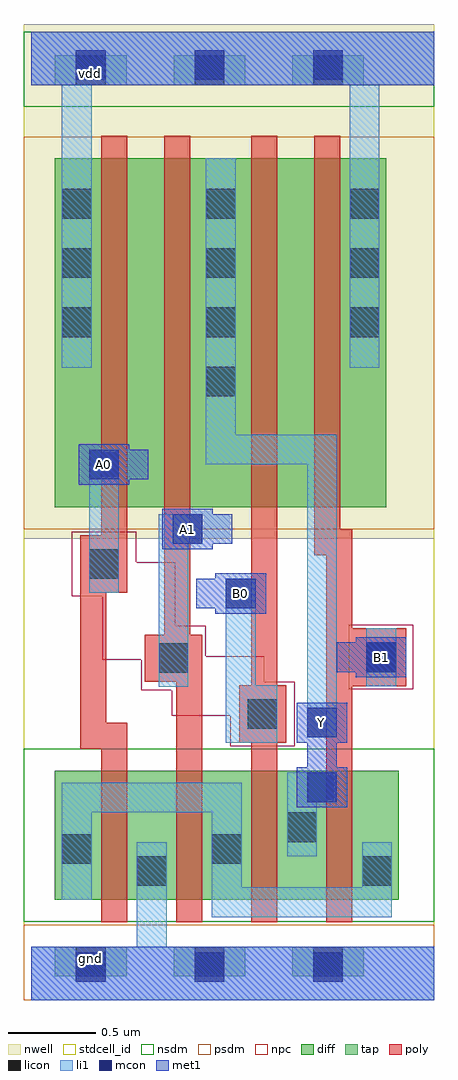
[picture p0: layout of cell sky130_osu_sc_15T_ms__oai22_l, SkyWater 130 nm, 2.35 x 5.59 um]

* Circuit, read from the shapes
.subckt sky130_osu_sc_15T_ms__oai22_l A0 A1 B0 B1 Y gnd vdd
XM1 gnd A0 n1 gnd sky130_fd_pr__nfet_01v8 w=0.74 l=0.15
XM2 n1 A1 gnd gnd sky130_fd_pr__nfet_01v8 w=0.74 l=0.15
XM3 Y B0 n1 gnd sky130_fd_pr__nfet_01v8 w=0.74 l=0.15
XM4 n1 B1 Y gnd sky130_fd_pr__nfet_01v8 w=0.74 l=0.15
XM5 n2 A0 vdd vdd sky130_fd_pr__pfet_01v8 w=2 l=0.15
XM6 Y A1 n2 vdd sky130_fd_pr__pfet_01v8 w=2 l=0.15
XM7 n3 B0 Y vdd sky130_fd_pr__pfet_01v8 w=2 l=0.15
XM8 vdd B1 n3 vdd sky130_fd_pr__pfet_01v8 w=2 l=0.15
.ends

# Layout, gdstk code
import gdstk
lib = gdstk.Library(unit=1e-6, precision=1e-09)
def R(c, l, rs):  # rectangles x0, y0, x1, y1
    for r in rs: c.add(gdstk.rectangle(r[:2], r[2:], *l))
def A(c, l, x, y, w, h, nx, ny, dx, dy):  # array of equal rectangles
    R(c, l, [(x+i*dx, y+j*dy, x+i*dx+w, y+j*dy+h) for i in range(nx) for j in range(ny)])
nwell = (64, 20)
diff = (65, 20)
tap = (65, 44)
poly = (66, 20)
licon = (66, 44)
li1 = (67, 20)
mcon = (67, 44)
met1 = (68, 20)
stdcell_id = (81, 4)
nsdm = (93, 44)
psdm = (94, 20)
npc = (95, 20)

sky130_osu_sc_15t_ms__oa = lib.new_cell('sky130_osu_sc_15T_ms__oai22_l')
R(sky130_osu_sc_15t_ms__oa, nwell, [(-0.045,2.645,2.31,5.595)])
R(sky130_osu_sc_15t_ms__oa, diff, [(0.135,0.575,2.105,1.315), (0.135,2.825,2.035,4.825)])
A(sky130_osu_sc_15t_ms__oa, tap, 0.135, 0.135, 0.41, 0.17, 3, 2, 0.68, 5.11)
R(sky130_osu_sc_15t_ms__oa, poly, [(0.4,0.445,0.55,1.44), (0.83,0.445,0.98,1.825), (1.26,0.445,1.41,1.475), (1.69,0.445,1.84,1.8), (0.28,1.44,0.55,1.59), (1.19,1.475,1.46,1.805), (0.28,1.59,0.43,2.335), (1.69,1.8,2.15,2.13), (1.26,1.805,1.41,4.955), (0.65,1.825,0.98,2.095), (0.76,2.095,0.91,4.955), (1.69,2.13,1.84,2.55), (0.28,2.335,0.55,2.665), (1.62,2.55,1.84,2.7), (0.4,2.665,0.55,4.955), (1.62,2.7,1.77,4.955)])
A(sky130_osu_sc_15t_ms__oa, licon, 0.255, 0.135, 0.17, 0.17, 3, 2, 0.68, 5.11)
A(sky130_osu_sc_15t_ms__oa, licon, 0.175, 3.8, 0.17, 0.17, 3, 3, 0.825, 0.34)
R(sky130_osu_sc_15t_ms__oa, licon, [(0.605,0.655,0.775,0.825), (1.895,0.655,2.065,0.825), (0.175,0.78,0.345,0.95), (1.035,0.78,1.205,0.95), (1.465,0.905,1.635,1.075), (1.24,1.555,1.41,1.725), (0.73,1.875,0.9,2.045), (1.92,1.88,2.09,2.05), (0.33,2.415,0.5,2.585), (1,3.46,1.17,3.63)])
R(sky130_osu_sc_15t_ms__oa, li1, [(0,0,2.31,0.305), (0.605,0.305,0.775,0.905), (1.035,0.475,2.065,0.645), (0.175,0.575,0.345,1.075), (1.035,0.645,1.205,1.075), (1.895,0.645,2.065,0.905), (1.465,0.825,1.635,1.135), (0.175,1.075,1.205,1.245), (1.465,1.135,1.75,1.305), (1.115,1.475,1.41,1.805), (1.58,1.505,1.75,3.07), (0.73,1.795,0.9,2.615), (1.92,1.8,2.09,2.13), (1.115,1.805,1.285,2.415), (0.33,2.335,0.5,3.155), (0.73,2.615,0.98,2.785), (1,3.07,1.75,3.24), (1,3.24,1.17,4.825), (0.175,3.625,0.345,5.245), (1.825,3.625,1.995,5.245), (0,5.245,2.31,5.55)])
A(sky130_osu_sc_15t_ms__oa, mcon, 0.255, 0.105, 0.17, 0.17, 3, 2, 0.68, 5.17)
R(sky130_osu_sc_15t_ms__oa, mcon, [(1.58,1.135,1.75,1.305), (1.58,1.505,1.75,1.675), (1.92,1.88,2.09,2.05), (1.115,2.245,1.285,2.415), (0.81,2.615,0.98,2.785), (0.33,2.985,0.5,3.155)])
R(sky130_osu_sc_15t_ms__oa, met1, [(0,0,2.31,0.305), (1.52,1.105,1.81,1.335), (1.58,1.335,1.75,1.475), (1.52,1.475,1.81,1.705), (1.86,1.85,2.15,1.88), (1.75,1.88,2.15,2.05), (1.86,2.05,2.15,2.08), (1.055,2.215,1.345,2.245), (0.945,2.245,1.345,2.415), (1.055,2.415,1.345,2.445), (0.75,2.585,1.04,2.615), (0.75,2.615,1.15,2.785), (0.75,2.785,1.04,2.815), (0.27,2.955,0.56,2.985), (0.27,2.985,0.67,3.155), (0.27,3.155,0.56,3.185), (0,5.245,2.31,5.55)])
R(sky130_osu_sc_15t_ms__oa, stdcell_id, [(-0.045,0,2.31,5.55)])
R(sky130_osu_sc_15t_ms__oa, nsdm, [(-0.045,0.45,2.31,1.44), (-0.045,5.12,2.31,5.55)])
R(sky130_osu_sc_15t_ms__oa, psdm, [(-0.045,0,2.31,0.43), (-0.045,2.7,2.31,4.95)])
R(sky130_osu_sc_15t_ms__oa, npc, [(1.14,1.455,1.51,1.63), (0.805,1.63,1.51,1.775), (0.63,1.775,1.51,1.825), (1.82,1.78,2.19,2.15), (0.63,1.825,1.335,1.95), (0.405,1.95,1.335,1.97), (0.405,1.97,1,2.145), (0.405,2.145,0.825,2.315), (0.23,2.315,0.825,2.51), (0.23,2.51,0.6,2.685)])
sky130_osu_sc_15t_ms__oa.add(gdstk.Label('gnd', (0.34,0.24), layer=68, texttype=16))
sky130_osu_sc_15t_ms__oa.add(gdstk.Label('vdd', (0.34,5.31), layer=68, texttype=16))
sky130_osu_sc_15t_ms__oa.add(gdstk.Label('B0', (1.2,2.33), layer=68, texttype=5))
sky130_osu_sc_15t_ms__oa.add(gdstk.Label('A1', (0.895,2.7), layer=68, texttype=5))
sky130_osu_sc_15t_ms__oa.add(gdstk.Label('A0', (0.415,3.07), layer=68, texttype=5))
sky130_osu_sc_15t_ms__oa.add(gdstk.Label('Y', (1.665,1.59), layer=68, texttype=5))
sky130_osu_sc_15t_ms__oa.add(gdstk.Label('B1', (2.005,1.965), layer=68, texttype=5))

lib.write_gds('sky130_osu_sc_15T_ms__oai22_l.gds')
